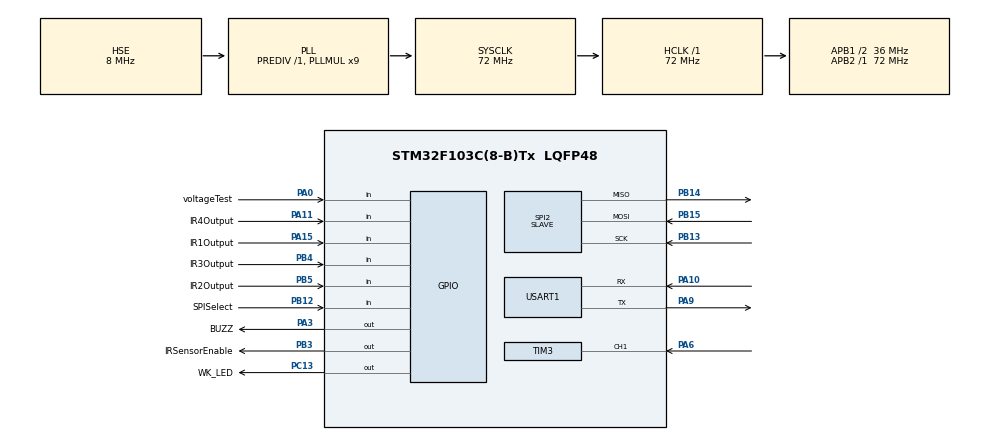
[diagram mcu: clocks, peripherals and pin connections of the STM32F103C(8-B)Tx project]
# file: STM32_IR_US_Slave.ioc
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Mcu.Family=STM32F1
Mcu.Name=STM32F103C(8-B)Tx
Mcu.Package=LQFP48
NVIC.PriorityGroup=NVIC_PRIORITYGROUP_4
NVIC.SPI2_IRQn=true\:0\:0\:false\:false\:true\:true\:true\:true
NVIC.TIM3_IRQn=true\:3\:0\:true\:false\:true\:true\:true\:true
NVIC.TIM4_IRQn=true\:4\:0\:true\:false\:true\:true\:true\:true
NVIC.USART1_IRQn=true\:6\:0\:true\:false\:true\:true\:true\:true
PA0-WKUP.GPIO_Label=voltageTest
PA0-WKUP.Signal=GPIO_Input
PA10.Mode=Asynchronous
PA10.Signal=USART1_RX
PA11.GPIO_Label=IR4Output
PA11.GPIO_PuPd=GPIO_PULLDOWN
PA11.Signal=GPIO_Input
PA13.Mode=Serial_Wire
PA13.Signal=SYS_JTMS-SWDIO
PA14.Mode=Serial_Wire
PA14.Signal=SYS_JTCK-SWCLK
PA15.GPIO_Label=IR1Output
PA15.GPIO_PuPd=GPIO_PULLDOWN
PA15.Signal=GPIO_Input
PA3.GPIO_Label=BUZZ
PA3.GPIO_PuPd=GPIO_PULLUP
PA3.GPIO_Speed=GPIO_SPEED_FREQ_HIGH
PA3.PinState=GPIO_PIN_SET
PA3.Signal=GPIO_Output
PA6.Signal=S_TIM3_CH1
PA9.Mode=Asynchronous
PA9.Signal=USART1_TX
PB12.GPIO_Label=SPISelect
PB12.GPIO_PuPd=GPIO_PULLUP
PB12.Signal=GPIO_Input
PB13.Mode=Full_Duplex_Slave
PB13.Signal=SPI2_SCK
PB14.Mode=Full_Duplex_Slave
PB14.Signal=SPI2_MISO
PB15.Mode=Full_Duplex_Slave
PB15.Signal=SPI2_MOSI
PB3.GPIO_Label=IRSensorEnable
PB3.GPIO_PuPd=GPIO_PULLDOWN
PB3.GPIO_Speed=GPIO_SPEED_FREQ_HIGH
PB3.PinState=GPIO_PIN_RESET
PB3.Signal=GPIO_Output
PB4.GPIO_Label=IR3Output
PB4.GPIO_PuPd=GPIO_PULLDOWN
PB4.Signal=GPIO_Input
PB5.GPIO_Label=IR2Output
PB5.GPIO_PuPd=GPIO_PULLDOWN
PB5.Signal=GPIO_Input
PC13-TAMPER-RTC.GPIO_Label=WK_LED
PC13-TAMPER-RTC.GPIO_PuPd=GPIO_PULLUP
PC13-TAMPER-RTC.GPIO_Speed=GPIO_SPEED_FREQ_HIGH
PC13-TAMPER-RTC.PinState=GPIO_PIN_SET
PC13-TAMPER-RTC.Signal=GPIO_Output
PC14-OSC32_IN.Mode=LSE-External-Oscillator
PC14-OSC32_IN.Signal=RCC_OSC32_IN
PC15-OSC32_OUT.Mode=LSE-External-Oscillator
PC15-OSC32_OUT.Signal=RCC_OSC32_OUT
PD0-OSC_IN.Mode=HSE-External-Oscillator
PD0-OSC_IN.Signal=RCC_OSC_IN
PD1-OSC_OUT.Mode=HSE-External-Oscillator
PD1-OSC_OUT.Signal=RCC_OSC_OUT
ProjectManager.HeapSize=0x200
ProjectManager.StackSize=0x400
ProjectManager.TargetToolchain=STM32CubeIDE
RCC.AHBFreq_Value=72000000
RCC.APB1CLKDivider=RCC_HCLK_DIV2
RCC.APB1Freq_Value=36000000
RCC.APB1TimFreq_Value=72000000
RCC.APB2Freq_Value=72000000
RCC.APB2TimFreq_Value=72000000
RCC.HCLKFreq_Value=72000000
RCC.PLLMUL=RCC_PLL_MUL9
RCC.PLLSourceVirtual=RCC_PLLSOURCE_HSE
RCC.SYSCLKFreq_VALUE=72000000
RCC.SYSCLKSource=RCC_SYSCLKSOURCE_PLLCLK
RCC.USBFreq_Value=72000000
SH.S_TIM3_CH1.0=TIM3_CH1,Input_Capture1_from_TI1
SPI2.Direction=SPI_DIRECTION_2LINES
SPI2.Mode=SPI_MODE_SLAVE
SPI2.VirtualType=VM_SLAVE
TIM3.Channel-Input_Capture1_from_TI1=TIM_CHANNEL_1
TIM3.Prescaler=71
TIM4.Period=999
TIM4.Prescaler=71
USART1.VirtualMode=VM_ASYNC
VP_TIM4_VS_ClockSourceINT.Mode=Internal
board=custom

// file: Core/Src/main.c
/* USER CODE BEGIN Header */
/**
  ******************************************************************************
  * @file           : main.c
  * @brief          : Main program body
  ******************************************************************************
  * @attention
  *
  * Copyright (c) 2024 STMicroelectronics.
  * All rights reserved.
  *
  * This software is licensed under terms that can be found in the LICENSE file
  * in the root directory of this software component.
  * If no LICENSE file comes with this software, it is provided AS-IS.
  *
  ******************************************************************************
  */
/* USER CODE END Header */
#include "main.h"
#include "spi.h"
#include "tim.h"
#include "usart.h"
#include "gpio.h"

/* USER CODE BEGIN PV */
uint8_t polarity = PO_Rising;
uint16_t Capture_Value1 = 0;
uint16_t Capture_Value2 = 0;
uint16_t Distance_Value = 0;
uint16_t Distance_Num = 0;
uint16_t Period_Num = 0;
uint8_t IRIsEnabled = 0;
uint8_t prescale10HzCount = 0;

// Here's the data transmitted to master, and:
// [0] - random, to be dispatched.
// [1] - represents the status of IR sensors(1/0).
// [2], [3]
// 	   - represent the distance between ultrasonic
// sensor and the obstacle(mm).
uint8_t dataToRasp[4] = {0};
//uint8_t dataFromRasp = 0;
uint8_t IRObjectDetected = 0;
// uint8_t isCalculatingDistance = 0;

/* USER CODE END PV */

void SystemClock_Config(void);

int main(void)
{

  /* USER CODE BEGIN 1 */
	GPIO_TypeDef* IRGPIOPorts[4] = {
			IR1Output_GPIO_Port,
			IR2Output_GPIO_Port,
			IR3Output_GPIO_Port,
			IR4Output_GPIO_Port,
	};

	uint16_t IRGPIOPins[4] = {
			IR1Output_Pin,
			IR2Output_Pin,
			IR3Output_Pin,
			IR4Output_Pin
	};

  /* USER CODE END 1 */

  /* MCU Configuration--------------------------------------------------------*/

  /* Reset of all peripherals, Initializes the Flash interface and the Systick. */
  HAL_Init();

  /* Configure the system clock */
  SystemClock_Config();

  /* Initialize all configured peripherals */
  MX_GPIO_Init();
  MX_USART1_UART_Init();
  MX_SPI2_Init();
  MX_TIM3_Init();
  MX_TIM4_Init();
  /* USER CODE BEGIN 2 */
  HAL_SPI_Transmit_DMA(&hspi2, dataToRasp, 4);

  /* USER CODE END 2 */

  /* Infinite loop */
  while (1)
  {

    /* USER CODE BEGIN 3 */
	  IRStartDetect(IRGPIOPorts, IRGPIOPins);
	  dataToRasp[1] = IRObjectDetected;
  }
  /* USER CODE END 3 */
}

void SystemClock_Config(void)
{
  RCC_OscInitTypeDef RCC_OscInitStruct = {0};
  RCC_ClkInitTypeDef RCC_ClkInitStruct = {0};

  /** Initializes the RCC Oscillators according to the specified parameters
  * in the RCC_OscInitTypeDef structure.
  */
  RCC_OscInitStruct.OscillatorType = RCC_OSCILLATORTYPE_HSE;
  RCC_OscInitStruct.HSEState = RCC_HSE_ON;
  RCC_OscInitStruct.HSEPredivValue = RCC_HSE_PREDIV_DIV1;
  RCC_OscInitStruct.HSIState = RCC_HSI_ON;
  RCC_OscInitStruct.PLL.PLLState = RCC_PLL_ON;
  RCC_OscInitStruct.PLL.PLLSource = RCC_PLLSOURCE_HSE;
  RCC_OscInitStruct.PLL.PLLMUL = RCC_PLL_MUL9;
  if (HAL_RCC_OscConfig(&RCC_OscInitStruct) != HAL_OK)
  {
    Error_Handler();
  }

  /** Initializes the CPU, AHB and APB buses clocks
  */
  RCC_ClkInitStruct.ClockType = RCC_CLOCKTYPE_HCLK|RCC_CLOCKTYPE_SYSCLK
                              |RCC_CLOCKTYPE_PCLK1|RCC_CLOCKTYPE_PCLK2;
  RCC_ClkInitStruct.SYSCLKSource = RCC_SYSCLKSOURCE_PLLCLK;
  RCC_ClkInitStruct.AHBCLKDivider = RCC_SYSCLK_DIV1;
  RCC_ClkInitStruct.APB1CLKDivider = RCC_HCLK_DIV2;
  RCC_ClkInitStruct.APB2CLKDivider = RCC_HCLK_DIV1;

  if (HAL_RCC_ClockConfig(&RCC_ClkInitStruct, FLASH_LATENCY_2) != HAL_OK)
  {
    Error_Handler();
  }
}

/* USER CODE BEGIN 4 */
// Function for IR sensors detection.
void IRStartDetect(GPIO_TypeDef* GPIOPort[4], uint16_t GPIOPin[4])
{
	if(IRIsEnabled)
	{
		IRIsEnabled = 0;
		// Eliminate jitter.
		Delay_us(210);

		for(int i = 0; i < 4; i++)
		{
			if(HAL_GPIO_ReadPin(GPIOPort[i], GPIOPin[i]))
			{
				IRObjectDetected &= ~(1 << i);
			}
			else
			{
				// Eliminate jitter twice.
				Delay_us(400);
				if(HAL_GPIO_ReadPin(GPIOPort[i], GPIOPin[i]))
				{
					IRObjectDetected &= ~(1 << i);
				}
				else
				{
					IRObjectDetected |= (1 << i);
				}
			}
		}
		// Reset enable pin.
		HAL_GPIO_WritePin(IRSensorEnable_GPIO_Port, IRSensorEnable_Pin, RESET);
	}
}

// us level timer.
void Delay_us(uint16_t myus)
{
	uint16_t differ = 0xffff-myus-5;
	HAL_TIM_Base_Start(&htim3);
	__HAL_TIM_SetCounter(&htim3,differ);
	while(differ < 0xffff-5)
	{
		differ = __HAL_TIM_GetCounter(&htim3);
	}
	HAL_TIM_Base_Stop(&htim3);
}

// Trigger ultrasonic sensor.
void Send_Trig(void)
{
	HAL_GPIO_WritePin(Trig_GPIO_Port, Trig_Pin, SET);
	Delay_us(20);
	HAL_GPIO_WritePin(Trig_GPIO_Port, Trig_Pin, RESET);
}

/* USER CODE END 4 */

void Error_Handler(void)
{
  __disable_irq();
  while (1)
  {
  }
}
